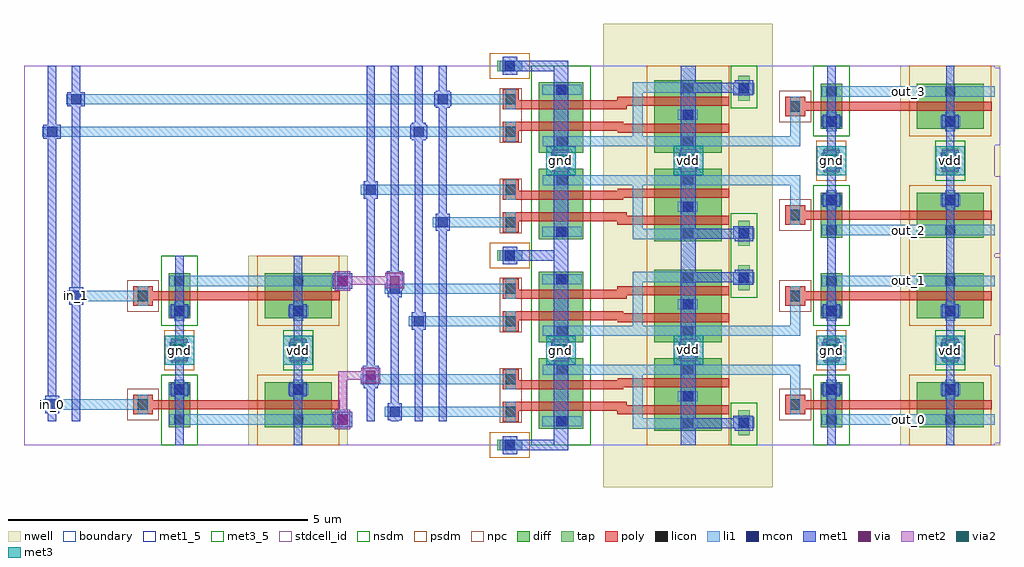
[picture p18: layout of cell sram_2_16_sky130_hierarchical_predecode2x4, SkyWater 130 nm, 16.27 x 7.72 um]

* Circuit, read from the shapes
.subckt sram_2_16_sky130_hierarchical_predecode2x4 gnd in_0 in_1 out_0 out_1 out_2 out_3 vdd
XM1 gnd in_0 sram_2_16_sky130_and2_dec_2/A gnd sky130_fd_pr__nfet_01v8 w=0.36 l=0.15
XM2 sram_2_16_sky130_and2_dec_2/B in_1 gnd gnd sky130_fd_pr__nfet_01v8 w=0.36 l=0.15
XM3 n1 sram_2_16_sky130_and2_dec_2/B gnd gnd sky130_fd_pr__nfet_01v8 w=0.74 l=0.15
XM4 sram_2_16_sky130_and2_dec_2/sram_2_16_sky130_pinv_dec_1/A sram_2_16_sky130_and2_dec_2/A n1 gnd sky130_fd_pr__nfet_01v8 w=0.74 l=0.15
XM5 n2 in_0 sram_2_16_sky130_and2_dec_3/sram_2_16_sky130_pinv_dec_1/A gnd sky130_fd_pr__nfet_01v8 w=0.74 l=0.15
XM6 gnd sram_2_16_sky130_and2_dec_2/B n2 gnd sky130_fd_pr__nfet_01v8 w=0.74 l=0.15
XM7 n3 in_1 gnd gnd sky130_fd_pr__nfet_01v8 w=0.74 l=0.15
XM8 sram_2_16_sky130_and2_dec_4/sram_2_16_sky130_pinv_dec_1/A sram_2_16_sky130_and2_dec_2/A n3 gnd sky130_fd_pr__nfet_01v8 w=0.74 l=0.15
XM9 n4 in_0 sram_2_16_sky130_and2_dec_5/sram_2_16_sky130_pinv_dec_1/A gnd sky130_fd_pr__nfet_01v8 w=0.74 l=0.15
XM10 gnd in_1 n4 gnd sky130_fd_pr__nfet_01v8 w=0.74 l=0.15
XM11 gnd sram_2_16_sky130_and2_dec_2/sram_2_16_sky130_pinv_dec_1/A out_0 gnd sky130_fd_pr__nfet_01v8 w=0.36 l=0.15
XM12 out_1 sram_2_16_sky130_and2_dec_3/sram_2_16_sky130_pinv_dec_1/A gnd gnd sky130_fd_pr__nfet_01v8 w=0.36 l=0.15
XM13 gnd sram_2_16_sky130_and2_dec_4/sram_2_16_sky130_pinv_dec_1/A out_2 gnd sky130_fd_pr__nfet_01v8 w=0.36 l=0.15
XM14 out_3 sram_2_16_sky130_and2_dec_5/sram_2_16_sky130_pinv_dec_1/A gnd gnd sky130_fd_pr__nfet_01v8 w=0.36 l=0.15
XM15 vdd in_0 sram_2_16_sky130_and2_dec_2/A vdd sky130_fd_pr__pfet_01v8 w=1.12 l=0.15
XM16 sram_2_16_sky130_and2_dec_2/B in_1 vdd vdd sky130_fd_pr__pfet_01v8 w=1.12 l=0.15
XM17 vdd sram_2_16_sky130_and2_dec_2/B sram_2_16_sky130_and2_dec_2/sram_2_16_sky130_pinv_dec_1/A vdd sky130_fd_pr__pfet_01v8 w=1.12 l=0.15
XM18 sram_2_16_sky130_and2_dec_2/sram_2_16_sky130_pinv_dec_1/A sram_2_16_sky130_and2_dec_2/A vdd vdd sky130_fd_pr__pfet_01v8 w=1.12 l=0.15
XM19 vdd in_0 sram_2_16_sky130_and2_dec_3/sram_2_16_sky130_pinv_dec_1/A vdd sky130_fd_pr__pfet_01v8 w=1.12 l=0.15
XM20 sram_2_16_sky130_and2_dec_3/sram_2_16_sky130_pinv_dec_1/A sram_2_16_sky130_and2_dec_2/B vdd vdd sky130_fd_pr__pfet_01v8 w=1.12 l=0.15
XM21 vdd in_1 sram_2_16_sky130_and2_dec_4/sram_2_16_sky130_pinv_dec_1/A vdd sky130_fd_pr__pfet_01v8 w=1.12 l=0.15
XM22 sram_2_16_sky130_and2_dec_4/sram_2_16_sky130_pinv_dec_1/A sram_2_16_sky130_and2_dec_2/A vdd vdd sky130_fd_pr__pfet_01v8 w=1.12 l=0.15
XM23 vdd in_0 sram_2_16_sky130_and2_dec_5/sram_2_16_sky130_pinv_dec_1/A vdd sky130_fd_pr__pfet_01v8 w=1.12 l=0.15
XM24 sram_2_16_sky130_and2_dec_5/sram_2_16_sky130_pinv_dec_1/A in_1 vdd vdd sky130_fd_pr__pfet_01v8 w=1.12 l=0.15
XM25 vdd sram_2_16_sky130_and2_dec_2/sram_2_16_sky130_pinv_dec_1/A out_0 vdd sky130_fd_pr__pfet_01v8 w=1.12 l=0.15
XM26 out_1 sram_2_16_sky130_and2_dec_3/sram_2_16_sky130_pinv_dec_1/A vdd vdd sky130_fd_pr__pfet_01v8 w=1.12 l=0.15
XM27 vdd sram_2_16_sky130_and2_dec_4/sram_2_16_sky130_pinv_dec_1/A out_2 vdd sky130_fd_pr__pfet_01v8 w=1.12 l=0.15
XM28 out_3 sram_2_16_sky130_and2_dec_5/sram_2_16_sky130_pinv_dec_1/A vdd vdd sky130_fd_pr__pfet_01v8 w=1.12 l=0.15
.ends

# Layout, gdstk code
from math import pi, radians
import gdstk
lib = gdstk.Library(unit=1e-6, precision=1e-09)
def R(c, l, rs):  # rectangles x0, y0, x1, y1
    for r in rs: c.add(gdstk.rectangle(r[:2], r[2:], *l))
def A(c, l, x, y, w, h, nx, ny, dx, dy):  # array of equal rectangles
    R(c, l, [(x+i*dx, y+j*dy, x+i*dx+w, y+j*dy+h) for i in range(nx) for j in range(ny)])
nwell = (64, 20)
diff = (65, 20)
tap = (65, 44)
poly = (66, 20)
licon = (66, 44)
li1 = (67, 20)
mcon = (67, 44)
met1_5 = (68, 5)
met1 = (68, 20)
via = (68, 44)
met2 = (69, 20)
via2 = (69, 44)
met3_5 = (70, 5)
met3 = (70, 20)
stdcell_id = (81, 4)
nsdm = (93, 44)
psdm = (94, 20)
npc = (95, 20)
boundary = (235, 4)

sram_2_16_sky130_contact = lib.new_cell('sram_2_16_sky130_contact_11')
R(sram_2_16_sky130_contact, nwell, [(-0.295,-0.255,0.545,0.585)])
R(sram_2_16_sky130_contact, diff, [(0,0.02,0.25,0.31)])
R(sram_2_16_sky130_contact, licon, [(0.04,0.08,0.21,0.25)])
R(sram_2_16_sky130_contact, li1, [(0.04,0,0.21,0.33)])
R(sram_2_16_sky130_contact, stdcell_id, [(-0.295,-0.255,0.545,0.585)])
R(sram_2_16_sky130_contact, psdm, [(-0.125,-0.105,0.375,0.435)])
R(sram_2_16_sky130_contact, boundary, [(-0.295,-0.255,0.545,0.585)])

sram_2_16_sky130_pmos_m1 = lib.new_cell('sram_2_16_sky130_pmos_m1_w1_120_sli_dli_da_p')
R(sram_2_16_sky130_pmos_m1, nwell, [(-0.27,-0.27,1.02,1.39)])
R(sram_2_16_sky130_pmos_m1, diff, [(0,0,0.75,1.12)])
R(sram_2_16_sky130_pmos_m1, poly, [(0.3,-0.13,0.45,1.25), (0.3,-0.13,0.45,1.25)])
R(sram_2_16_sky130_pmos_m1, li1, [(0.04,0.395,0.21,0.725), (0.54,0.395,0.71,0.725)])
R(sram_2_16_sky130_pmos_m1, stdcell_id, [(-0.27,-0.27,1.02,1.39)])
R(sram_2_16_sky130_pmos_m1, psdm, [(-0.125,-0.125,0.875,1.245)])
R(sram_2_16_sky130_pmos_m1, boundary, [(-0.27,-0.27,1.02,1.39)])
sram_2_16_sky130_pmos_m1.add(gdstk.Reference(sram_2_16_sky130_contact, (0,0.395)))
sram_2_16_sky130_pmos_m1.add(gdstk.Reference(sram_2_16_sky130_contact, (0.5,0.395)))
sram_2_16_sky130_pmos_m1.add(gdstk.Label('G', (0.375,0.56), layer=66, texttype=5))
sram_2_16_sky130_pmos_m1.add(gdstk.Label('S', (0.125,0.56), layer=67, texttype=5))
sram_2_16_sky130_pmos_m1.add(gdstk.Label('D', (0.625,0.56), layer=67, texttype=5))

c_sram_2_16_sky130_contact = lib.new_cell('sram_2_16_sky130_contact_10')
R(c_sram_2_16_sky130_contact, diff, [(0,0.02,0.25,0.31)])
R(c_sram_2_16_sky130_contact, licon, [(0.04,0.08,0.21,0.25)])
R(c_sram_2_16_sky130_contact, li1, [(0.04,0,0.21,0.33)])
R(c_sram_2_16_sky130_contact, stdcell_id, [(-0.125,-0.105,0.375,0.435)])
R(c_sram_2_16_sky130_contact, nsdm, [(-0.125,-0.105,0.375,0.435)])
R(c_sram_2_16_sky130_contact, boundary, [(-0.125,-0.105,0.375,0.435)])

sram_2_16_sky130_nmos_m1 = lib.new_cell('sram_2_16_sky130_nmos_m1_w0_360_sli_dli_da_p')
R(sram_2_16_sky130_nmos_m1, diff, [(0,0,0.75,0.36)])
R(sram_2_16_sky130_nmos_m1, poly, [(0.3,-0.13,0.45,0.49), (0.3,-0.13,0.45,0.49)])
R(sram_2_16_sky130_nmos_m1, li1, [(0.04,0.015,0.21,0.345), (0.54,0.015,0.71,0.345)])
R(sram_2_16_sky130_nmos_m1, stdcell_id, [(-0.125,-0.13,0.875,0.49)])
R(sram_2_16_sky130_nmos_m1, nsdm, [(-0.125,-0.125,0.875,0.485)])
R(sram_2_16_sky130_nmos_m1, boundary, [(-0.125,-0.13,0.875,0.49)])
sram_2_16_sky130_nmos_m1.add(gdstk.Reference(c_sram_2_16_sky130_contact, (0,0.015)))
sram_2_16_sky130_nmos_m1.add(gdstk.Reference(c_sram_2_16_sky130_contact, (0.5,0.015)))
sram_2_16_sky130_nmos_m1.add(gdstk.Label('G', (0.375,0.18), layer=66, texttype=5))
sram_2_16_sky130_nmos_m1.add(gdstk.Label('S', (0.125,0.18), layer=67, texttype=5))
sram_2_16_sky130_nmos_m1.add(gdstk.Label('D', (0.625,0.18), layer=67, texttype=5))

c_sram_2_16_sky130_contact_ = lib.new_cell('sram_2_16_sky130_contact_12')
R(c_sram_2_16_sky130_contact_, nwell, [(-0.295,-0.215,0.545,0.625)])
R(c_sram_2_16_sky130_contact_, tap, [(0,0,0.25,0.41)])
R(c_sram_2_16_sky130_contact_, licon, [(0.04,0.12,0.21,0.29)])
R(c_sram_2_16_sky130_contact_, li1, [(0.04,0.04,0.21,0.37)])
R(c_sram_2_16_sky130_contact_, stdcell_id, [(-0.295,-0.215,0.545,0.625)])
R(c_sram_2_16_sky130_contact_, nsdm, [(-0.125,-0.125,0.375,0.535)])
R(c_sram_2_16_sky130_contact_, boundary, [(-0.295,-0.215,0.545,0.625)])

c_sram_2_16_sky130_contact__ = lib.new_cell('sram_2_16_sky130_contact_13')
R(c_sram_2_16_sky130_contact__, li1, [(0.06,0,0.23,0.33)])
R(c_sram_2_16_sky130_contact__, mcon, [(0.06,0.08,0.23,0.25)])
R(c_sram_2_16_sky130_contact__, met1, [(0,0.05,0.29,0.28)])
R(c_sram_2_16_sky130_contact__, stdcell_id, [(0,0,0.29,0.33)])
R(c_sram_2_16_sky130_contact__, boundary, [(0,0,0.29,0.33)])

c_sram_2_16_sky130_contact___ = lib.new_cell('sram_2_16_sky130_contact_14')
R(c_sram_2_16_sky130_contact___, tap, [(0,0,0.25,0.41)])
R(c_sram_2_16_sky130_contact___, licon, [(0.04,0.12,0.21,0.29)])
R(c_sram_2_16_sky130_contact___, li1, [(0.04,0.04,0.21,0.37)])
R(c_sram_2_16_sky130_contact___, stdcell_id, [(-0.125,-0.125,0.375,0.535)])
R(c_sram_2_16_sky130_contact___, psdm, [(-0.125,-0.125,0.375,0.535)])
R(c_sram_2_16_sky130_contact___, boundary, [(-0.125,-0.125,0.375,0.535)])

c_sram_2_16_sky130_contact____ = lib.new_cell('sram_2_16_sky130_contact_15')
R(c_sram_2_16_sky130_contact____, poly, [(0,0,0.33,0.33)])
R(c_sram_2_16_sky130_contact____, licon, [(0.08,0.08,0.25,0.25)])
R(c_sram_2_16_sky130_contact____, li1, [(0.08,0,0.25,0.33)])
R(c_sram_2_16_sky130_contact____, stdcell_id, [(-0.1,-0.1,0.43,0.43)])
R(c_sram_2_16_sky130_contact____, npc, [(-0.1,-0.1,0.43,0.43)])
R(c_sram_2_16_sky130_contact____, boundary, [(-0.1,-0.1,0.43,0.43)])

sram_2_16_sky130_pinv_de = lib.new_cell('sram_2_16_sky130_pinv_dec')
R(sram_2_16_sky130_pinv_de, nwell, [(2.14,0,3.8,2.055)])
R(sram_2_16_sky130_pinv_de, poly, [(0.385,0.6,0.68,0.75), (1.3,0.6,2.28,0.75)])
R(sram_2_16_sky130_pinv_de, li1, [(0.825,0.34,3.71,0.51), (0.3,0.51,0.47,0.84)])
R(sram_2_16_sky130_pinv_de, met1_5, [(0.92,0,1.06,1.58), (2.9,0,3.04,1.58)])
R(sram_2_16_sky130_pinv_de, met1, [(0.92,0,1.06,1.58), (2.9,0,3.04,1.58)])
R(sram_2_16_sky130_pinv_de, stdcell_id, [(0,0,3.71,1.58), (0,0,3.71,1.58)])
R(sram_2_16_sky130_pinv_de, nsdm, [(0.685,0,1.295,1.05)])
R(sram_2_16_sky130_pinv_de, psdm, [(2.285,0,3.655,1.05)])
R(sram_2_16_sky130_pinv_de, boundary, [(0,0,3.71,1.58), (0,0,3.71,1.58)])
sram_2_16_sky130_pinv_de.add(gdstk.Reference(sram_2_16_sky130_pmos_m1, (2.41,1.05), rotation=3*pi/2))
sram_2_16_sky130_pinv_de.add(gdstk.Reference(sram_2_16_sky130_nmos_m1, (0.81,1.05), rotation=3*pi/2))
sram_2_16_sky130_pinv_de.add(gdstk.Reference(c_sram_2_16_sky130_contact_, (2.845,1.375)))
sram_2_16_sky130_pinv_de.add(gdstk.Reference(c_sram_2_16_sky130_contact__, (2.825,1.415)))
sram_2_16_sky130_pinv_de.add(gdstk.Reference(c_sram_2_16_sky130_contact___, (0.865,1.375)))
sram_2_16_sky130_pinv_de.add(gdstk.Reference(c_sram_2_16_sky130_contact__, (0.845,1.415)))
sram_2_16_sky130_pinv_de.add(gdstk.Reference(c_sram_2_16_sky130_contact____, (0.22,0.51)))
sram_2_16_sky130_pinv_de.add(gdstk.Reference(c_sram_2_16_sky130_contact__, (0.845,0.76)))
sram_2_16_sky130_pinv_de.add(gdstk.Reference(c_sram_2_16_sky130_contact__, (2.825,0.76)))
sram_2_16_sky130_pinv_de.add(gdstk.Label('A', (0.385,0.675), layer=67, texttype=5))
sram_2_16_sky130_pinv_de.add(gdstk.Label('Z', (2.268,0.425), layer=67, texttype=5))
sram_2_16_sky130_pinv_de.add(gdstk.Label('gnd', (0.99,0.79), layer=68, texttype=5))
sram_2_16_sky130_pinv_de.add(gdstk.Label('vdd', (2.97,0.79), layer=68, texttype=5))

sky130_fd_bd_sram__openr = lib.new_cell('sky130_fd_bd_sram__openram_sp_nand2_dec')
R(sky130_fd_bd_sram__openr, nwell, [(1.95,-0.7,4.77,1.99)])
R(sky130_fd_bd_sram__openr, diff, [(2.8,0.24,3.92,1.445), (0.87,0.27,1.61,1.445)])
R(sky130_fd_bd_sram__openr, tap, [(0.18,-0.09,0.6,0.09), (4.195,0.16,4.385,0.58)])
R(sky130_fd_bd_sram__openr, poly, [(0.27,0.39,0.54,0.57), (2.18,0.51,4.05,0.57), (0.27,0.57,4.05,0.66), (0.27,0.66,2.34,0.72), (0.27,0.93,2.28,0.96), (0.27,0.96,4.05,1.08), (0.27,1.08,0.54,1.26), (2.19,1.08,4.05,1.11)])
R(sky130_fd_bd_sram__openr, licon, [(0.305,-0.085,0.475,0.085), (3.275,0.28,3.445,0.45), (4.205,0.285,4.375,0.455), (1.185,0.31,1.355,0.48), (0.32,0.47,0.49,0.64), (3.275,0.73,3.445,0.9), (0.32,1.01,0.49,1.18), (1.175,1.17,1.345,1.34), (3.275,1.17,3.445,1.34)])
R(sky130_fd_bd_sram__openr, li1, [(0.22,-0.09,0.6,0.09), (2.435,0.27,2.75,0.275), (2.435,0.275,3.315,0.28), (2.435,0.28,3.53,0.445), (4.115,0.28,4.465,0.46), (0.93,0.31,1.59,0.48), (0.32,0.39,0.49,0.72), (0.32,0.39,0.49,0.72), (2.435,0.445,2.88,0.45), (3.19,0.445,3.53,0.45), (2.435,0.45,2.605,1.17), (3.19,0.73,3.525,0.9), (0.32,0.93,0.49,1.26), (0.32,0.93,0.49,1.26), (0.94,1.17,4.33,1.34), (0.94,1.17,4.33,1.34)])
R(sky130_fd_bd_sram__openr, mcon, [(0.305,-0.085,0.475,0.085), (4.205,0.285,4.375,0.455), (1.16,0.31,1.33,0.48), (3.275,0.73,3.445,0.9)])
R(sky130_fd_bd_sram__openr, met1_5, [(1.12,-0.005,1.36,1.58), (1.12,-0.005,1.36,1.58), (3.24,0.45,3.49,1.585), (3.24,0.45,3.49,1.585)])
R(sky130_fd_bd_sram__openr, met1, [(0.27,-0.15,0.51,-0.09), (0.27,-0.09,1.36,0.09), (1.12,-0.005,1.36,1.58), (3.24,0,3.49,0.28), (0.27,0.09,0.51,0.15), (1.12,0.09,1.36,1.58), (4.135,0.24,4.45,0.28), (3.24,0.28,4.45,0.45), (3.24,0.45,3.49,1.585), (3.24,0.45,3.49,1.585), (4.115,0.45,4.45,0.49)])
R(sky130_fd_bd_sram__openr, nsdm, [(0.745,0,1.735,1.58), (4.07,0,4.51,0.705)])
R(sky130_fd_bd_sram__openr, psdm, [(0.055,-0.215,0.725,0.215), (2.675,0,4.045,1.58)])
R(sky130_fd_bd_sram__openr, npc, [(0.22,0.37,0.59,1.28)])
R(sky130_fd_bd_sram__openr, boundary, [(0,0,4.76,1.58)])
sky130_fd_bd_sram__openr.add(gdstk.Label('GND', (1.24,0.782), layer=68, texttype=5))
sky130_fd_bd_sram__openr.add(gdstk.Label('VDD', (3.365,1.03), layer=68, texttype=5))
sky130_fd_bd_sram__openr.add(gdstk.Label('vdd', (3.365,1.03), layer=68, texttype=5))
sky130_fd_bd_sram__openr.add(gdstk.Label('gnd', (1.24,0.78), layer=68, texttype=5))
sky130_fd_bd_sram__openr.add(gdstk.Label('A', (0.405,1.095), layer=67, texttype=5))
sky130_fd_bd_sram__openr.add(gdstk.Label('B', (0.405,0.555), layer=67, texttype=5))
sky130_fd_bd_sram__openr.add(gdstk.Label('Z', (2.635,1.255), layer=67, texttype=5))
sky130_fd_bd_sram__openr.add(gdstk.Label('A', (0.405,1.095), layer=67, texttype=5))
sky130_fd_bd_sram__openr.add(gdstk.Label('B', (0.405,0.555), layer=67, texttype=5))
sky130_fd_bd_sram__openr.add(gdstk.Label('Z', (2.635,1.255), layer=67, texttype=5))
sky130_fd_bd_sram__openr.add(gdstk.Label('vdd', (3.365,1.018), layer=68, texttype=5))
sky130_fd_bd_sram__openr.add(gdstk.Label('gnd', (1.24,0.788), layer=68, texttype=5))

sram_2_16_sky130_and2_de = lib.new_cell('sram_2_16_sky130_and2_dec')
R(sram_2_16_sky130_and2_de, li1, [(5.585,0.34,8.47,0.51), (0.32,0.39,0.49,0.72), (5.06,0.675,5.23,1.255), (0.32,0.93,0.49,1.26), (2.635,1.17,5.145,1.34), (5.06,1.17,5.23,1.34)])
R(sram_2_16_sky130_and2_de, met1_5, [(1.12,-0.005,1.36,1.58), (5.68,0,5.82,1.58), (7.66,0,7.8,1.58), (3.24,0.45,3.49,1.585)])
R(sram_2_16_sky130_and2_de, met1, [(1.12,-0.005,1.36,1.58), (5.68,0,5.82,1.58), (7.66,0,7.8,1.58), (3.24,0.45,3.49,1.585)])
R(sram_2_16_sky130_and2_de, stdcell_id, [(0,0,8.47,1.58)])
R(sram_2_16_sky130_and2_de, boundary, [(0,0,8.47,1.58)])
sram_2_16_sky130_and2_de.add(gdstk.Reference(sky130_fd_bd_sram__openr, (0,0)))
sram_2_16_sky130_and2_de.add(gdstk.Reference(sram_2_16_sky130_pinv_de, (4.76,0)))
sram_2_16_sky130_and2_de.add(gdstk.Label('Z', (7.028,0.425), layer=67, texttype=5))
sram_2_16_sky130_and2_de.add(gdstk.Label('A', (0.405,1.095), layer=67, texttype=5))
sram_2_16_sky130_and2_de.add(gdstk.Label('B', (0.405,0.555), layer=67, texttype=5))
sram_2_16_sky130_and2_de.add(gdstk.Label('vdd', (7.73,0.79), layer=68, texttype=5))
sram_2_16_sky130_and2_de.add(gdstk.Label('vdd', (3.365,1.018), layer=68, texttype=5))
sram_2_16_sky130_and2_de.add(gdstk.Label('gnd', (1.24,0.788), layer=68, texttype=5))
sram_2_16_sky130_and2_de.add(gdstk.Label('gnd', (5.75,0.79), layer=68, texttype=5))

c_sram_2_16_sky130_contact_____ = lib.new_cell('sram_2_16_sky130_contact_16')
R(c_sram_2_16_sky130_contact_____, li1, [(0,0.06,0.33,0.23)])
R(c_sram_2_16_sky130_contact_____, mcon, [(0.08,0.06,0.25,0.23)])
R(c_sram_2_16_sky130_contact_____, met1, [(0.05,0,0.28,0.29)])
R(c_sram_2_16_sky130_contact_____, stdcell_id, [(0,0,0.33,0.29)])
R(c_sram_2_16_sky130_contact_____, boundary, [(0,0,0.33,0.29)])

c_sram_2_16_sky130_contact______ = lib.new_cell('sram_2_16_sky130_contact_7')
R(c_sram_2_16_sky130_contact______, met1, [(0,0.03,0.32,0.29)])
R(c_sram_2_16_sky130_contact______, via, [(0.085,0.085,0.235,0.235)])
R(c_sram_2_16_sky130_contact______, met2, [(0.03,0,0.29,0.32)])
R(c_sram_2_16_sky130_contact______, stdcell_id, [(0,0,0.32,0.32)])
R(c_sram_2_16_sky130_contact______, boundary, [(0,0,0.32,0.32)])

c_sram_2_16_sky130_contact_______ = lib.new_cell('sram_2_16_sky130_contact_18')
R(c_sram_2_16_sky130_contact_______, met1, [(0.03,0,0.29,0.32)])
R(c_sram_2_16_sky130_contact_______, via, [(0.085,0.085,0.235,0.235)])
R(c_sram_2_16_sky130_contact_______, met2, [(0,0.03,0.32,0.29)])
R(c_sram_2_16_sky130_contact_______, stdcell_id, [(0,0,0.32,0.32)])
R(c_sram_2_16_sky130_contact_______, boundary, [(0,0,0.32,0.32)])

c_sram_2_16_sky130_contact________ = lib.new_cell('sram_2_16_sky130_contact_19')
R(c_sram_2_16_sky130_contact________, li1, [(0,0.03,0.33,0.2)])
R(c_sram_2_16_sky130_contact________, mcon, [(0.08,0.03,0.25,0.2)])
R(c_sram_2_16_sky130_contact________, met1, [(0.02,0,0.31,0.23)])
R(c_sram_2_16_sky130_contact________, stdcell_id, [(0,0,0.33,0.23)])
R(c_sram_2_16_sky130_contact________, boundary, [(0,0,0.33,0.23)])

c_sram_2_16_sky130_contact_________ = lib.new_cell('sram_2_16_sky130_contact_8')
R(c_sram_2_16_sky130_contact_________, met2, [(0.025,0,0.305,0.37)])
R(c_sram_2_16_sky130_contact_________, via2, [(0.065,0.085,0.265,0.285)])
R(c_sram_2_16_sky130_contact_________, met3, [(0,0.02,0.33,0.35)])
R(c_sram_2_16_sky130_contact_________, stdcell_id, [(0,0,0.33,0.37)])
R(c_sram_2_16_sky130_contact_________, boundary, [(0,0,0.33,0.37)])

sram_2_16_sky130_hierarc = lib.new_cell('sram_2_16_sky130_hierarchical_predecode2x4')
R(sram_2_16_sky130_hierarc, li1, [(13.295,0.34,16.18,0.51), (6.18,0.47,8.115,0.64), (8.03,0.47,8.2,0.64), (0.47,0.59,1.985,0.76), (1.9,0.59,2.07,0.76), (5.78,1.01,8.115,1.18), (8.03,1.01,8.2,1.18), (6.58,1.98,8.115,2.15), (8.03,1.98,8.2,2.15), (0.87,2.4,1.985,2.57), (1.9,2.4,2.07,2.57), (6.18,2.52,8.115,2.69), (8.03,2.52,8.2,2.69), (13.295,2.65,16.18,2.82), (13.295,3.5,16.18,3.67), (6.98,3.63,8.115,3.8), (8.03,3.63,8.2,3.8), (5.78,4.17,8.115,4.34), (8.03,4.17,8.2,4.34), (0.47,5.14,6.58,5.31), (6.58,5.14,8.115,5.31), (8.03,5.14,8.2,5.31), (0.87,5.68,6.98,5.85), (6.98,5.68,8.115,5.85), (8.03,5.68,8.2,5.85), (13.295,5.81,16.18,5.98)])
R(sram_2_16_sky130_hierarc, met1_5, [(0.355,0.53,0.585,0.82), (0.755,2.34,0.985,2.63)])
A(sram_2_16_sky130_hierarc, met1, 5.71, 0.4, 0.14, 5.92, 4, 1, 0.4, 0)
R(sram_2_16_sky130_hierarc, met1, [(5.15,0.295,5.47,0.555), (0.4,0.4,0.54,6.32), (0.8,0.4,0.94,6.32), (2.52,0.4,2.66,3.16), (4.5,0.4,4.64,3.16), (8.83,0.4,9.07,6.325), (10.95,0.4,11.2,5.87), (13.39,0.4,13.53,6.32), (15.37,0.4,15.51,6.32), (0.355,0.53,0.585,0.82), (2.43,1.45,2.75,1.71), (2.43,1.45,2.75,1.71), (4.41,1.45,4.73,1.71), (4.41,1.45,4.73,1.71), (8.79,1.45,9.11,1.71), (13.3,1.45,13.62,1.71), (15.28,1.45,15.6,1.71), (10.915,1.455,11.235,1.715), (0.755,2.34,0.985,2.63), (5.15,2.605,5.47,2.865), (8.79,4.61,9.11,4.87), (13.3,4.61,13.62,4.87), (15.28,4.61,15.6,4.87), (10.915,4.615,11.235,4.875)])
R(sram_2_16_sky130_hierarc, met2, [(5.24,0.425,5.38,1.16), (5.24,1.09,5.38,1.23), (5.31,1.09,5.78,1.23), (2.45,1.46,2.73,1.7), (2.45,1.46,2.73,1.7), (4.43,1.46,4.71,1.7), (4.43,1.46,4.71,1.7), (8.81,1.46,9.09,1.7), (13.32,1.46,13.6,1.7), (15.3,1.46,15.58,1.7), (10.935,1.465,11.215,1.705), (5.24,2.67,5.38,2.81), (5.31,2.67,6.18,2.81), (5.24,2.735,5.38,2.74), (8.81,4.62,9.09,4.86), (13.32,4.62,13.6,4.86), (15.3,4.62,15.58,4.86), (10.935,4.625,11.215,4.865)])
R(sram_2_16_sky130_hierarc, met3_5, [(2.345,1.335,2.835,1.825), (4.325,1.335,4.815,1.825), (8.705,1.335,9.195,1.825), (13.215,1.335,13.705,1.825), (15.195,1.335,15.685,1.825), (10.83,1.34,11.32,1.83), (8.705,4.495,9.195,4.985), (13.215,4.495,13.705,4.985), (15.195,4.495,15.685,4.985), (10.83,4.5,11.32,4.99)])
R(sram_2_16_sky130_hierarc, met3, [(2.345,1.335,2.835,1.825), (4.325,1.335,4.815,1.825), (8.705,1.335,9.195,1.825), (13.215,1.335,13.705,1.825), (15.195,1.335,15.685,1.825), (10.83,1.34,11.32,1.83), (8.705,4.495,9.195,4.985), (13.215,4.495,13.705,4.985), (15.195,4.495,15.685,4.985), (10.83,4.5,11.32,4.99)])
R(sram_2_16_sky130_hierarc, stdcell_id, [(0,0,16.18,6.32)])
R(sram_2_16_sky130_hierarc, boundary, [(0,0,16.18,6.32)])
sram_2_16_sky130_hierarc.add(gdstk.Reference(sram_2_16_sky130_pinv_de, (1.6,0)))
sram_2_16_sky130_hierarc.add(gdstk.Reference(sram_2_16_sky130_pinv_de, (1.6,3.16), x_reflection=True))
sram_2_16_sky130_hierarc.add(gdstk.Reference(sram_2_16_sky130_and2_de, (7.71,0)))
sram_2_16_sky130_hierarc.add(gdstk.Reference(sram_2_16_sky130_and2_de, (7.71,3.16), x_reflection=True))
sram_2_16_sky130_hierarc.add(gdstk.Reference(sram_2_16_sky130_and2_de, (7.71,3.16)))
sram_2_16_sky130_hierarc.add(gdstk.Reference(sram_2_16_sky130_and2_de, (7.71,6.32), x_reflection=True))
sram_2_16_sky130_hierarc.add(gdstk.Reference(c_sram_2_16_sky130_contact_____, (0.305,0.53)))
sram_2_16_sky130_hierarc.add(gdstk.Reference(c_sram_2_16_sky130_contact_____, (0.705,2.34)))
sram_2_16_sky130_hierarc.add(gdstk.Reference(c_sram_2_16_sky130_contact_____, (5.615,0.95)))
sram_2_16_sky130_hierarc.add(gdstk.Reference(c_sram_2_16_sky130_contact_____, (6.015,0.41)))
sram_2_16_sky130_hierarc.add(gdstk.Reference(c_sram_2_16_sky130_contact_____, (6.415,1.92)))
sram_2_16_sky130_hierarc.add(gdstk.Reference(c_sram_2_16_sky130_contact_____, (6.015,2.46)))
sram_2_16_sky130_hierarc.add(gdstk.Reference(c_sram_2_16_sky130_contact_____, (5.615,4.11)))
sram_2_16_sky130_hierarc.add(gdstk.Reference(c_sram_2_16_sky130_contact_____, (6.815,3.57)))
sram_2_16_sky130_hierarc.add(gdstk.Reference(c_sram_2_16_sky130_contact_____, (6.415,5.08)))
sram_2_16_sky130_hierarc.add(gdstk.Reference(c_sram_2_16_sky130_contact_____, (6.815,5.62)))
sram_2_16_sky130_hierarc.add(gdstk.Reference(c_sram_2_16_sky130_contact__, (5.165,0.26)))
sram_2_16_sky130_hierarc.add(gdstk.Reference(c_sram_2_16_sky130_contact______, (5.15,0.265)))
sram_2_16_sky130_hierarc.add(gdstk.Reference(c_sram_2_16_sky130_contact_______, (5.62,1)))
sram_2_16_sky130_hierarc.add(gdstk.Reference(c_sram_2_16_sky130_contact__, (5.165,2.57)))
sram_2_16_sky130_hierarc.add(gdstk.Reference(c_sram_2_16_sky130_contact______, (5.15,2.575)))
sram_2_16_sky130_hierarc.add(gdstk.Reference(c_sram_2_16_sky130_contact_______, (6.02,2.58)))
sram_2_16_sky130_hierarc.add(gdstk.Reference(c_sram_2_16_sky130_contact________, (0.305,5.11)))
sram_2_16_sky130_hierarc.add(gdstk.Reference(c_sram_2_16_sky130_contact________, (6.415,5.11)))
sram_2_16_sky130_hierarc.add(gdstk.Reference(c_sram_2_16_sky130_contact________, (0.705,5.65)))
sram_2_16_sky130_hierarc.add(gdstk.Reference(c_sram_2_16_sky130_contact________, (6.815,5.65)))
sram_2_16_sky130_hierarc.add(gdstk.Reference(c_sram_2_16_sky130_contact______, (4.41,1.42)))
sram_2_16_sky130_hierarc.add(gdstk.Reference(c_sram_2_16_sky130_contact_________, (4.405,1.395)))
sram_2_16_sky130_hierarc.add(gdstk.Reference(c_sram_2_16_sky130_contact______, (4.41,1.42)))
sram_2_16_sky130_hierarc.add(gdstk.Reference(c_sram_2_16_sky130_contact_________, (4.405,1.395)))
sram_2_16_sky130_hierarc.add(gdstk.Reference(c_sram_2_16_sky130_contact______, (15.28,1.42)))
sram_2_16_sky130_hierarc.add(gdstk.Reference(c_sram_2_16_sky130_contact_________, (15.275,1.395)))
sram_2_16_sky130_hierarc.add(gdstk.Reference(c_sram_2_16_sky130_contact______, (10.915,1.425)))
sram_2_16_sky130_hierarc.add(gdstk.Reference(c_sram_2_16_sky130_contact_________, (10.91,1.4)))
sram_2_16_sky130_hierarc.add(gdstk.Reference(c_sram_2_16_sky130_contact______, (15.28,4.58)))
sram_2_16_sky130_hierarc.add(gdstk.Reference(c_sram_2_16_sky130_contact_________, (15.275,4.555)))
sram_2_16_sky130_hierarc.add(gdstk.Reference(c_sram_2_16_sky130_contact______, (10.915,4.585)))
sram_2_16_sky130_hierarc.add(gdstk.Reference(c_sram_2_16_sky130_contact_________, (10.91,4.56)))
sram_2_16_sky130_hierarc.add(gdstk.Reference(c_sram_2_16_sky130_contact______, (2.43,1.42)))
sram_2_16_sky130_hierarc.add(gdstk.Reference(c_sram_2_16_sky130_contact_________, (2.425,1.395)))
sram_2_16_sky130_hierarc.add(gdstk.Reference(c_sram_2_16_sky130_contact______, (2.43,1.42)))
sram_2_16_sky130_hierarc.add(gdstk.Reference(c_sram_2_16_sky130_contact_________, (2.425,1.395)))
sram_2_16_sky130_hierarc.add(gdstk.Reference(c_sram_2_16_sky130_contact______, (8.79,1.42)))
sram_2_16_sky130_hierarc.add(gdstk.Reference(c_sram_2_16_sky130_contact_________, (8.785,1.395)))
sram_2_16_sky130_hierarc.add(gdstk.Reference(c_sram_2_16_sky130_contact______, (13.3,1.42)))
sram_2_16_sky130_hierarc.add(gdstk.Reference(c_sram_2_16_sky130_contact_________, (13.295,1.395)))
sram_2_16_sky130_hierarc.add(gdstk.Reference(c_sram_2_16_sky130_contact______, (8.79,4.58)))
sram_2_16_sky130_hierarc.add(gdstk.Reference(c_sram_2_16_sky130_contact_________, (8.785,4.555)))
sram_2_16_sky130_hierarc.add(gdstk.Reference(c_sram_2_16_sky130_contact______, (13.3,4.58)))
sram_2_16_sky130_hierarc.add(gdstk.Reference(c_sram_2_16_sky130_contact_________, (13.295,4.555)))
sram_2_16_sky130_hierarc.add(gdstk.Label('in_0', (0.47,0.675), layer=68, texttype=5))
sram_2_16_sky130_hierarc.add(gdstk.Label('in_1', (0.87,2.485), layer=68, texttype=5))
sram_2_16_sky130_hierarc.add(gdstk.Label('out_0', (14.738,0.425), layer=67, texttype=5))
sram_2_16_sky130_hierarc.add(gdstk.Label('out_1', (14.738,2.735), layer=67, texttype=5))
sram_2_16_sky130_hierarc.add(gdstk.Label('out_2', (14.738,3.585), layer=67, texttype=5))
sram_2_16_sky130_hierarc.add(gdstk.Label('out_3', (14.738,5.895), layer=67, texttype=5))
sram_2_16_sky130_hierarc.add(gdstk.Label('vdd', (11.075,1.585), layer=70, texttype=5))
sram_2_16_sky130_hierarc.add(gdstk.Label('vdd', (4.57,1.58), layer=70, texttype=5))
sram_2_16_sky130_hierarc.add(gdstk.Label('vdd', (11.075,4.745), layer=70, texttype=5))
sram_2_16_sky130_hierarc.add(gdstk.Label('vdd', (15.44,4.74), layer=70, texttype=5))
sram_2_16_sky130_hierarc.add(gdstk.Label('vdd', (15.44,1.58), layer=70, texttype=5))
sram_2_16_sky130_hierarc.add(gdstk.Label('gnd', (8.95,1.58), layer=70, texttype=5))
sram_2_16_sky130_hierarc.add(gdstk.Label('gnd', (8.95,4.74), layer=70, texttype=5))
sram_2_16_sky130_hierarc.add(gdstk.Label('gnd', (2.59,1.58), layer=70, texttype=5))
sram_2_16_sky130_hierarc.add(gdstk.Label('gnd', (13.46,1.58), layer=70, texttype=5))
sram_2_16_sky130_hierarc.add(gdstk.Label('gnd', (13.46,4.74), layer=70, texttype=5))

lib.write_gds('sram_2_16_sky130_hierarchical_predecode2x4.gds')
